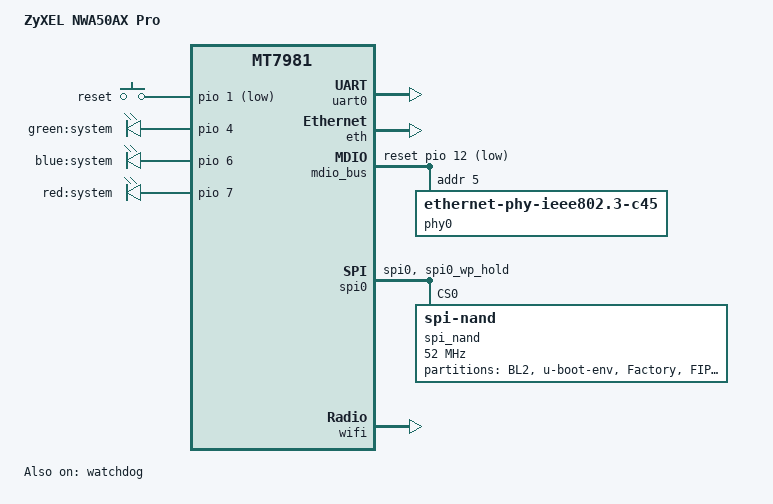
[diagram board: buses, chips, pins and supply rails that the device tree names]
// SPDX-License-Identifier: (GPL-2.0-or-later OR MIT)
/dts-v1/;

#include "mt7981.dtsi"

/ {
	model = "ZyXEL NWA50AX Pro";
	compatible = "zyxel,nwa50ax-pro", "mediatek,mt7981";

	aliases {
		led-boot = &led_green;
		led-failsafe = &led_red;
		led-running = &led_green;
		led-upgrade = &led_red;
		serial0 = &uart0;
		label-mac-device = &gmac1;
	};

	chosen {
		stdout-path = "serial0:115200n8";
	};

	gpio-keys {
		compatible = "gpio-keys";

		reset {
			label = "reset";
			linux,code = <KEY_RESTART>;
			gpios = <&pio 1 GPIO_ACTIVE_LOW>;
		};
	};

	leds {
		compatible = "gpio-leds";

		led_green: led@0 {
			label = "green:system";
			gpios = <&pio 4 GPIO_ACTIVE_HIGH>;
		};

		led@1 {
			label = "blue:system";
			gpios = <&pio 6 GPIO_ACTIVE_HIGH>;
		};

		led_red: led@2 {
			label = "red:system";
			gpios = <&pio 7 GPIO_ACTIVE_HIGH>;
		};
	};
};

&uart0 {
	status = "okay";
};

&watchdog {
	status = "okay";
};

&eth {
	pinctrl-names = "default";
	pinctrl-0 = <&mdio_pins>;

	status = "okay";

	gmac1: mac@1 {
		compatible = "mediatek,eth-mac";
		reg = <1>;
		phy-mode = "2500base-x";

		phy-handle = <&phy0>;

		nvmem-cells = <&macaddr_mrd_1fff8>;
		nvmem-cell-names = "mac-address";
	};
};

&mdio_bus {
	reset-gpios = <&pio 12 GPIO_ACTIVE_LOW>;
	reset-delay-us = <1500000>;
	reset-post-delay-us = <1000000>;

	phy0: ethernet-phy@5 {
		reg = <5>;
		compatible = "ethernet-phy-ieee802.3-c45";

		/* LED0: Amber ; LED1: nc ; LED2: nc ; LED3: Green */
		mxl,led-config = <0x3b0 0x0 0x0 0x3c0>;
	};
};

&spi0 {
	pinctrl-names = "default";
	pinctrl-0 = <&spi0_flash_pins>;
	status = "okay";

	spi_nand: flash@0 {
		#address-cells = <1>;
		#size-cells = <1>;
		compatible = "spi-nand";
		reg = <0>;
		spi-max-frequency = <52000000>;

		spi-cal-enable;
		spi-cal-mode = "read-data";
		spi-cal-datalen = <7>;
		spi-cal-data = /bits/ 8 <0x53 0x50 0x49 0x4E 0x41 0x4E 0x44>;
		spi-cal-addrlen = <5>;
		spi-cal-addr = /bits/ 32 <0x0 0x0 0x0 0x0 0x0>;

		spi-tx-buswidth = <4>;
		spi-rx-buswidth = <4>;
		mediatek,nmbm;
		mediatek,bmt-max-ratio = <1>;
		mediatek,bmt-max-reserved-blocks = <64>;

		partitions {
			compatible = "fixed-partitions";
			#address-cells = <1>;
			#size-cells = <1>;

			partition@0 {
				label = "BL2";
				reg = <0x00000 0x0100000>;
				read-only;
			};

			partition@100000 {
				label = "u-boot-env";
				reg = <0x0100000 0x0080000>;
			};

			factory: partition@180000 {
				label = "Factory";
				reg = <0x180000 0x0200000>;
				read-only;

				compatible = "nvmem-cells";
				#address-cells = <1>;
				#size-cells = <1>;

				macaddr: macaddr@a {
					reg = <0xa 0x6>;
				};
			};

			partition@380000 {
				label = "FIP";
				reg = <0x380000 0x0200000>;
				read-only;
			};

			partition@580000 {
				label = "ubi";
				reg = <0x580000 0x3200000>;
			};

			partition@3780000 {
				label = "ubi_1";
				reg = <0x3780000 0x3200000>;
				read-only;
			};

			partition@6980000 {
				label = "rootfs-data";
				reg = <0x6980000 0x3c00000>;
				read-only;
			};

			partition@a580000 {
				label = "logs";
				reg = <0xa580000 0x3a80000>;
				read-only;
			};

			partition@e000000 {
				label = "myzyxel";
				reg = <0xe000000 0xf00000>;
				read-only;
			};

			partition@ef00000 {
				label = "bootconfig";
				reg = <0xef00000 0x80000>;
			};

			partition@ef80000 {
				label = "mrd";
				reg = <0xef80000 0x80000>;
				read-only;

				compatible = "nvmem-cells";
				#address-cells = <1>;
				#size-cells = <1>;

				macaddr_mrd_1fff8: macaddr@1fff8 {
					reg = <0x1fff8 0x6>;
				};
			};
		};
	};
};

&pio {
	spi0_flash_pins: spi0-pins {
		mux {
			function = "spi";
			groups = "spi0", "spi0_wp_hold";
		};
	};

	pwm_pins: pwm0-pins {
		mux {
			function = "pwm";
			groups = "pwm0_1";
		};
	};
};

&wifi {
	status = "okay";

	mediatek,mtd-eeprom = <&factory 0x0>;
};
